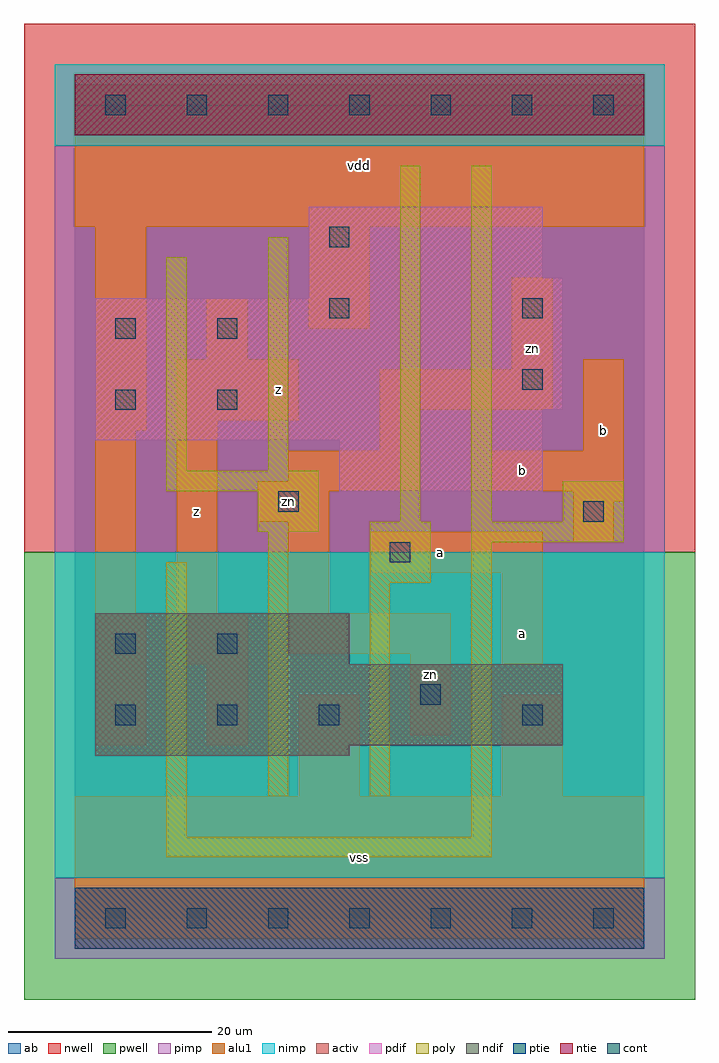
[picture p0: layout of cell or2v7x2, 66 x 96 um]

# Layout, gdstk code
import gdstk
lib = gdstk.Library(unit=1e-6, precision=1e-09)
def R(c, l, rs):  # rectangles x0, y0, x1, y1
    for r in rs: c.add(gdstk.rectangle(r[:2], r[2:], *l))
def A(c, l, x, y, w, h, nx, ny, dx, dy):  # array of equal rectangles
    R(c, l, [(x+i*dx, y+j*dy, x+i*dx+w, y+j*dy+h) for i in range(nx) for j in range(ny)])
ndif = (3, 0)
pdif = (4, 0)
ntie = (5, 0)
ptie = (6, 0)
cont = (25, 0)
pwell = (41, 0)
nwell = (42, 0)
activ = (43, 0)
pimp = (44, 0)
nimp = (45, 0)
poly = (46, 0)
alu1 = (49, 0)
ab = (63, 0)

or2v7x2 = lib.new_cell('or2v7x2')
R(or2v7x2, ndif, [(2,16,27,17), (2,17,48,25), (2,25,27,30)])
R(or2v7x2, pdif, [(26,42,46,47), (2,47,46,50), (2,50,48,61), (23,61,48,63), (23,63,46,70)])
R(or2v7x2, ntie, [(0,77,56,83)])
R(or2v7x2, ptie, [(0,-3,56,3)])
A(or2v7x2, cont, 3, -1, 2, 2, 7, 2, 8, 80)
A(or2v7x2, cont, 4, 19, 2, 2, 3, 1, 10, 0)
R(or2v7x2, cont, [(44,19,46,21), (34,21,36,23), (4,26,6,28), (14,26,16,28), (31,35,33,37), (50,39,52,41), (20,40,22,42), (4,50,6,52), (14,50,16,52), (44,52,46,54), (4,57,6,59), (14,57,16,59), (25,59,27,61), (44,59,46,61), (25,66,27,68)])
R(or2v7x2, pwell, [(-5,-8,61,36)])
R(or2v7x2, nwell, [(-5,36,61,88)])
R(or2v7x2, activ, [(0,-3,56,3), (2,16,27,17), (2,17,48,25), (2,25,27,30), (26,42,46,47), (2,47,46,50), (2,50,48,61), (23,61,48,63), (23,63,46,70), (0,77,56,83)])
R(or2v7x2, pimp, [(-2,-4,58,4), (-2,36,58,76)])
R(or2v7x2, nimp, [(-2,4,58,36), (-2,76,58,84)])
R(or2v7x2, poly, [(9,6,41,8), (9,8,11,35), (39,8,41,37), (19,12,21,38), (29,12,31,33), (29,33,35,39), (39,37,54,39), (18,38,24,42), (32,39,34,74), (39,39,41,74), (48,39,54,43), (9,42,24,44), (9,44,11,65), (19,44,21,67)])
R(or2v7x2, alu1, [(0,-2,56,12), (22,12,28,22), (42,12,48,22), (2,17,7,30), (13,17,17,25), (33,18,37,26), (10,25,17,30), (42,25,46,34), (21,26,37,30), (2,30,6,48), (10,30,14,49), (21,30,25,39), (29,34,46,38), (49,37,53,41), (18,39,25,42), (49,41,54,42), (18,42,34,43), (41,42,54,46), (21,43,34,46), (30,46,34,50), (50,46,54,55), (2,48,7,68), (10,49,22,55), (30,50,47,54), (43,54,47,63), (13,55,17,61), (23,58,29,68), (0,68,56,82)])
R(or2v7x2, ab, [(0,0,56,80)])
or2v7x2.add(gdstk.Label('zn', (21,41), layer=49, texttype=0))
or2v7x2.add(gdstk.Label('zn', (35,24), layer=49, texttype=0))
or2v7x2.add(gdstk.Label('zn', (45,56), layer=49, texttype=0))
or2v7x2.add(gdstk.Label('z', (12,40), layer=49, texttype=0))
or2v7x2.add(gdstk.Label('z', (20,52), layer=49, texttype=0))
or2v7x2.add(gdstk.Label('vss', (28,6), layer=49, texttype=0))
or2v7x2.add(gdstk.Label('a', (36,36), layer=49, texttype=0))
or2v7x2.add(gdstk.Label('vdd', (28,74), layer=49, texttype=0))
or2v7x2.add(gdstk.Label('a', (44,28), layer=49, texttype=0))
or2v7x2.add(gdstk.Label('b', (44,44), layer=49, texttype=0))
or2v7x2.add(gdstk.Label('b', (52,48), layer=49, texttype=0))

lib.write_gds('or2v7x2.gds')
